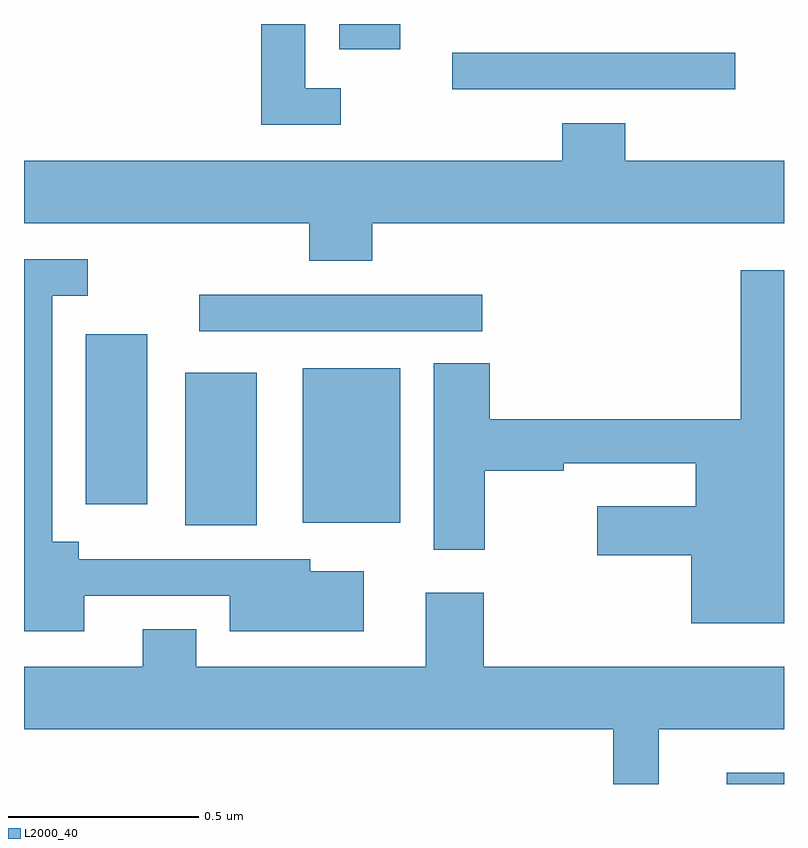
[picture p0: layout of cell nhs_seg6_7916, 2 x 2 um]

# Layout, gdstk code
import gdstk
lib = gdstk.Library(unit=1e-6, precision=1e-09)
def R(c, l, rs):  # rectangles x0, y0, x1, y1
    for r in rs: c.add(gdstk.rectangle(r[:2], r[2:], *l))
def P(c, l, *ps):  # polygons
    for p in ps: c.add(gdstk.Polygon(p, *l))
L2000_40 = (2000, 40)

nhs_seg6_7916 = lib.new_cell('nhs_seg6_7916')
R(nhs_seg6_7916, L2000_40, [(215.849,972.5,216,972.529), (214.424,973.181,214.612,973.582), (214.733,973.187,214.99,973.594), (214.163,973.236,214.324,973.684), (214.461,973.692,215.206,973.788), (215.127,974.328,215.872,974.424), (214.829,974.433,214.99,974.5)])
P(nhs_seg6_7916, L2000_40, [(214.834,974.331),(214.74,974.331),(214.74,974.5),(214.624,974.5),(214.624,974.235),(214.834,974.235)],
  [(214.916,973.976),(216,973.976),(216,974.14),(215.582,974.14),(215.582,974.239),(215.417,974.239),(215.417,974.14),(214,974.14),(214,973.976),(214.751,973.976),(214.751,973.877),(214.916,973.877)],
  [(214.159,972.996),(214.541,972.996),(214.541,972.902),(214.894,972.902),(214.894,973.06),(214.753,973.06),(214.753,973.092),(214.144,973.092),(214.144,973.138),(214.074,973.138),(214.074,973.785),(214.168,973.785),(214.168,973.881),(214,973.881),(214,972.902),(214.159,972.902)],
  [(216,973.852),(215.886,973.852),(215.886,973.46),(215.225,973.46),(215.225,973.607),(215.078,973.607),(215.078,973.116),(215.212,973.116),(215.212,973.324),(215.42,973.324),(215.42,973.344),(215.768,973.344),(215.768,973.231),(215.508,973.231),(215.508,973.102),(215.756,973.102),(215.756,972.923),(216,972.923)],
  [(215.671,972.644),(216,972.644),(216,972.808),(215.21,972.808),(215.21,973.003),(215.057,973.003),(215.057,972.808),(214.453,972.808),(214.453,972.907),(214.313,972.907),(214.313,972.808),(214,972.808),(214,972.644),(215.55,972.644),(215.55,972.5),(215.671,972.5)])

lib.write_gds('nhs_seg6_7916.gds')
